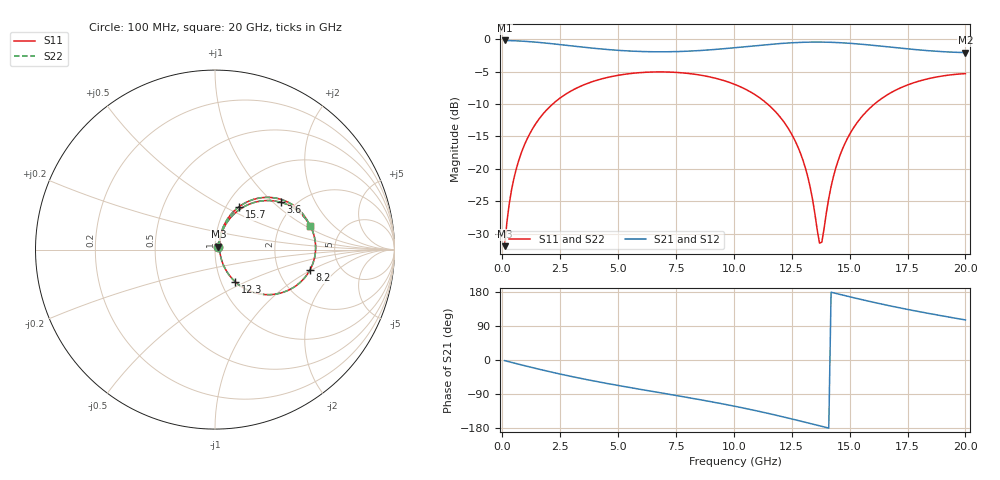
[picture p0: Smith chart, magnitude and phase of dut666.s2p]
! Touchstone file exported from HFSS 2026.1.0
!  File:  C:/ffzhzh/LocalFiles/Ansys_Project_Files/temp_train_TSV_RDL_666_1783131458_46604.aedt
!  Generated:  10:28:27 AM Jul  4, 2026
!  Design:  TSV_RDL
!  Project:  temp_train_TSV_RDL_666_1783131458_46604
! Variables:
!  h_bsmrdl = 4.79um
!  h_ox = 20um
!  h_rdl = 5um
!  h_sub = 78.83um
!  h_tmrdl = 4.61um
!  h_tsv = 78.83um
!  h_via = 3um
!  l_bsmrdl = 643.62um
!  l_sub = 4270.26um
!  l_tmrdl = 457.1um
!  m_sub = 200um
!  pitch = 48.3um
!  r_tsv = 5.79um
!  s_tmrdl = 10um
!  w_bsmrdl = 23.12um
!  w_sub = 500um
!  w_tmrdl = 13.88um
!  x_tsv_center1 = 464.04um
!  x_tsv_center2 = 1130.78um
!  x_tsv_center3 = 1601.76um
!  x_tsv_center4 = 2268.5um
!  x_tsv_center5 = 2739.48um
!  x_tsv_center6 = 3406.22um
# GHz S MA R 50.000000
! Terminal data exported
! Port[1] = TM_RDL1_1_T1
! Port[2] = TM_RDL5_1_T1
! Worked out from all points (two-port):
!   200 points, 100 MHz to 20 GHz, reference 50 ohm
!   highest |S21| = -0.16 dB at 100 MHz (marker M1); lowest = -2.0 dB at 20 GHz (marker M2)
!   |S21| within 3 dB of the highest: start of sweep to end of sweep
!   lowest |S11| = -31.9 dB at 100 MHz (marker M3), VSWR 1.05, Z = 51.9 + j1.72 ohm
!   |S11| at or under -10 dB: start of sweep to 2.173 GHz; 11.46 GHz to 16.07 GHz (4.609 GHz wide, 33.5 % of centre)
!   |S22| runs from -31.9 to -5.0 dB; largest |S21 - S12| = 1.7e-14
!   S11 on the Smith chart (normalised r, x): 100 MHz: 1.04, +0.03; 3.6 GHz: 1.69, +1.12; 8.2 GHz: 3.02, -0.97; 12.3 GHz: 1.17, -0.44; 15.7 GHz: 1.15, +0.59; 20 GHz: 2.92, +1.11
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0.1  0.02528 40.8  0.9812 -1.6  0.9812 -1.6  0.02528 40.8
! Gamma 0 0 0 0
! Port Impedance 50 0 50 0
0.3  0.05368 63.4  0.9788 -4.8  0.9788 -4.8  0.05368 63.4
0.5  0.08407 67.8  0.9759 -7.9  0.9759 -7.9  0.08407 67.8
1.1  0.1742 65.6  0.9629 -17.1  0.9629 -17.1  0.1742 65.6
2.1  0.3077 54.0  0.9278 -31.6  0.9278 -31.6  0.3077 54.0
3.5  0.444 36.9  0.8705 -49.9  0.8705 -49.9  0.444 36.9
3.6  0.4514 35.7  0.8667 -51.1  0.8667 -51.1  0.4514 35.7
6.8  0.5609 2.0  0.8017 -86.2  0.8017 -86.2  0.5609 2.0
8.2  0.5413 -12.1  0.8138 -101.0  0.8138 -101.0  0.5412 -12.1
10.1  0.4446 -32.6  0.8645 -122.8  0.8645 -122.8  0.4446 -32.6
11.4  0.3231 -47.8  0.9101 -139.8  0.9101 -139.8  0.323 -47.8
12.3  0.212 -57.8  0.9369 -152.6  0.9369 -152.6  0.212 -57.9
13  0.1144 -61.9  0.9499 -163.0  0.9499 -163.0  0.1143 -62.0
13.4  0.05802 -54.4  0.9532 -169.0  0.9532 -169.0  0.05788 -54.7
13.7  0.02669 -9.9  0.9533 -173.6  0.9533 -173.6  0.02639 -10.1
13.8  0.02714 21.1  0.953 -175.1  0.953 -175.1  0.02684 21.4
14.2  0.07303 66.6  0.9494 178.8  0.9494 178.8  0.07292 66.9
14.5  0.1153 70.0  0.9446 174.3  0.9446 174.3  0.1153 70.2
15  0.1847 67.7  0.933 166.9  0.933 166.9  0.1847 67.8
15.7  0.2741 60.6  0.911 156.9  0.911 156.9  0.2741 60.7
16.7  0.3799 49.2  0.8742 143.5  0.8742 143.5  0.3799 49.2
20  0.5442 14.2  0.7905 105.7  0.7905 105.7  0.5441 14.3
